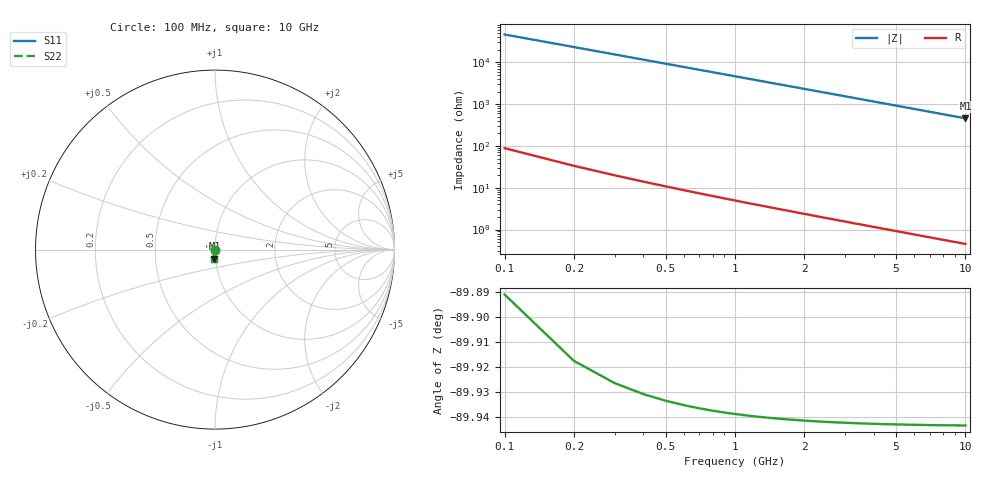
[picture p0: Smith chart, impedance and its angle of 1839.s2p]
# Hz S RI R 50.00
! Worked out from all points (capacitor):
!   100 points, 100 MHz to 10 GHz, reference 50 ohm
!   read as one part in shunt: C = 34.3 fF near 100 MHz
!   lowest |Z| = 458 ohm at 10 GHz (marker M1)
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1e8  9.49e-06 -0.000495  1 -0.000582  1 -0.000582  9.49e-06 -0.000495
2e8  8.18e-06 -0.000989  1 -0.00116  1 -0.00116  8.18e-06 -0.000989
3e8  6.27e-06 -0.00148  1 -0.00175  1 -0.00175  6.27e-06 -0.00148
4e8  3.77e-06 -0.00198  1 -0.00233  1 -0.00233  3.77e-06 -0.00198
5e8  6.92e-07 -0.00247  1 -0.00291  1 -0.00291  6.92e-07 -0.00247
6e8  -2.97e-06 -0.00297  1 -0.00349  1 -0.00349  -2.97e-06 -0.00297
7e8  -7.21e-06 -0.00346  1 -0.00407  1 -0.00407  -7.21e-06 -0.00346
8e8  -1.2e-05 -0.00396  1 -0.00466  1 -0.00466  -1.2e-05 -0.00396
9e8  -1.74e-05 -0.00445  1 -0.00524  1 -0.00524  -1.74e-05 -0.00445
1.1e9  -3e-05 -0.00545  0.9999 -0.00641  0.9999 -0.00641  -3e-05 -0.00545
1.4e9  -5.31e-05 -0.00693  0.9999 -0.00816  0.9999 -0.00816  -5.31e-05 -0.00693
1.8e9  -9.22e-05 -0.00892  0.9999 -0.0105  0.9999 -0.0105  -9.22e-05 -0.00892
2.1e9  -0.000128 -0.0104  0.9998 -0.0122  0.9998 -0.0122  -0.000128 -0.0104
2.5e9  -0.000183 -0.0124  0.9998 -0.0146  0.9998 -0.0146  -0.000183 -0.0124
2.9e9  -0.000248 -0.0144  0.9997 -0.0169  0.9997 -0.0169  -0.000248 -0.0144
3.4e9  -0.000342 -0.0169  0.9996 -0.0199  0.9996 -0.0199  -0.000342 -0.0169
4.2e9  -0.000524 -0.0209  0.9994 -0.0246  0.9994 -0.0246  -0.000524 -0.0209
5.1e9  -0.000774 -0.0254  0.9992 -0.0299  0.9992 -0.0299  -0.000774 -0.0254
5.9e9  -0.00104 -0.0294  0.9989 -0.0346  0.9989 -0.0346  -0.00104 -0.0294
6.7e9  -0.00134 -0.0334  0.9986 -0.0393  0.9986 -0.0393  -0.00134 -0.0334
8.4e9  -0.00211 -0.0419  0.9978 -0.0494  0.9978 -0.0494  -0.00211 -0.0419
1e10  -0.00299 -0.05  0.9969 -0.0589  0.9969 -0.0589  -0.00299 -0.05
